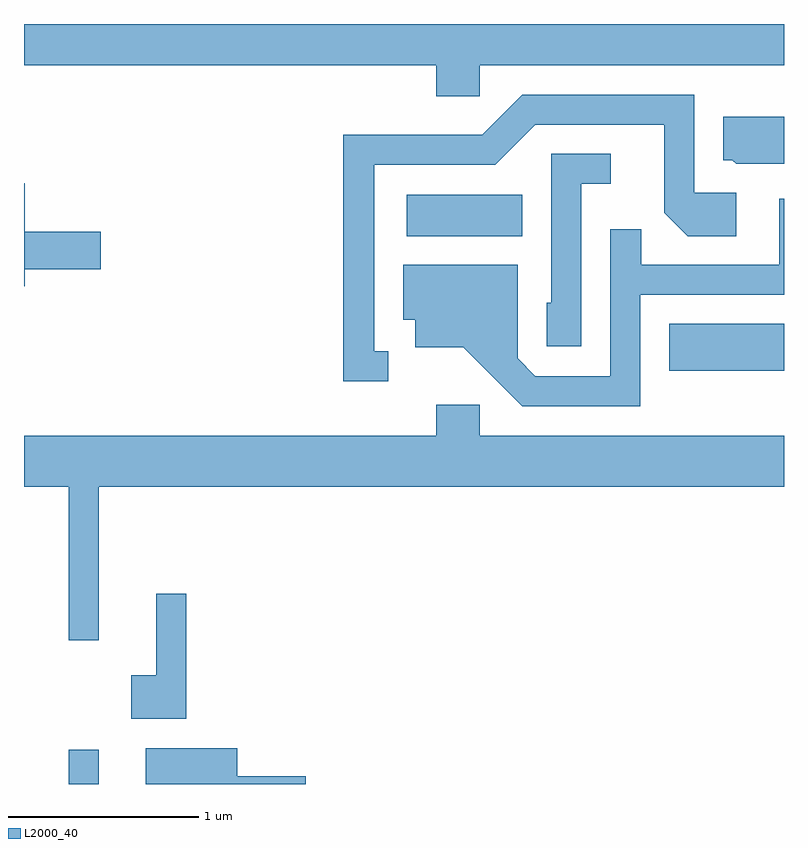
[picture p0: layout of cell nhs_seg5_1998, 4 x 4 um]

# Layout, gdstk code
import gdstk
lib = gdstk.Library(unit=1e-6, precision=1e-09)
def R(c, l, rs):  # rectangles x0, y0, x1, y1
    for r in rs: c.add(gdstk.rectangle(r[:2], r[2:], *l))
def P(c, l, *ps):  # polygons
    for p in ps: c.add(gdstk.Polygon(p, *l))
L2000_40 = (2000, 40)

nhs_seg5_1998 = lib.new_cell('nhs_seg5_1998')
R(nhs_seg5_1998, L2000_40, [(243.846,1504.072,244.004,1504.253), (247.006,1506.246,247.611,1506.494), (245.626,1506.956,246.234,1507.174)])
P(nhs_seg5_1998, L2000_40, [(246.009,1507.856),(247.611,1507.856),(247.611,1508.072),(243.611,1508.072),(243.611,1507.856),(245.781,1507.856),(245.781,1507.691),(246.009,1507.691)],
  [(245.528,1506.349),(245.454,1506.349),(245.454,1507.331),(246.092,1507.331),(246.302,1507.541),(246.981,1507.541),(246.981,1507.079),(247.104,1506.956),(247.359,1506.956),(247.359,1507.184),(247.139,1507.184),(247.139,1507.699),(246.234,1507.699),(246.024,1507.489),(245.291,1507.489),(245.291,1506.191),(245.528,1506.191)],
  [(247.611,1507.584),(247.291,1507.584),(247.291,1507.356),(247.339,1507.356),(247.359,1507.336),(247.611,1507.336)],
  [(246.544,1507.231),(246.698,1507.231),(246.698,1507.389),(246.386,1507.389),(246.386,1506.604),(246.361,1506.604),(246.361,1506.376),(246.544,1506.376)],
  [(243.614,1506.781),(244.014,1506.781),(244.014,1506.979),(243.614,1506.979),(243.614,1507.234),(243.611,1507.234),(243.611,1506.691),(243.614,1506.691)],
  [(246.854,1506.646),(247.611,1506.646),(247.611,1507.153),(247.586,1507.153),(247.586,1506.804),(246.859,1506.804),(246.859,1506.993),(246.696,1506.993),(246.696,1506.219),(246.302,1506.219),(246.209,1506.312),(246.209,1506.804),(245.606,1506.804),(245.606,1506.516),(245.671,1506.516),(245.671,1506.371),(245.924,1506.371),(246.234,1506.061),(246.854,1506.061)],
  [(244.004,1505.636),(247.611,1505.636),(247.611,1505.904),(246.009,1505.904),(246.009,1506.069),(245.781,1506.069),(245.781,1505.904),(243.611,1505.904),(243.611,1505.636),(243.846,1505.636),(243.846,1504.828),(244.004,1504.828)],
  [(244.464,1505.073),(244.306,1505.073),(244.306,1504.644),(244.176,1504.644),(244.176,1504.416),(244.464,1504.416)],
  [(245.094,1504.114),(244.734,1504.114),(244.734,1504.259),(244.251,1504.259),(244.251,1504.072),(245.094,1504.072)])

lib.write_gds('nhs_seg5_1998.gds')
